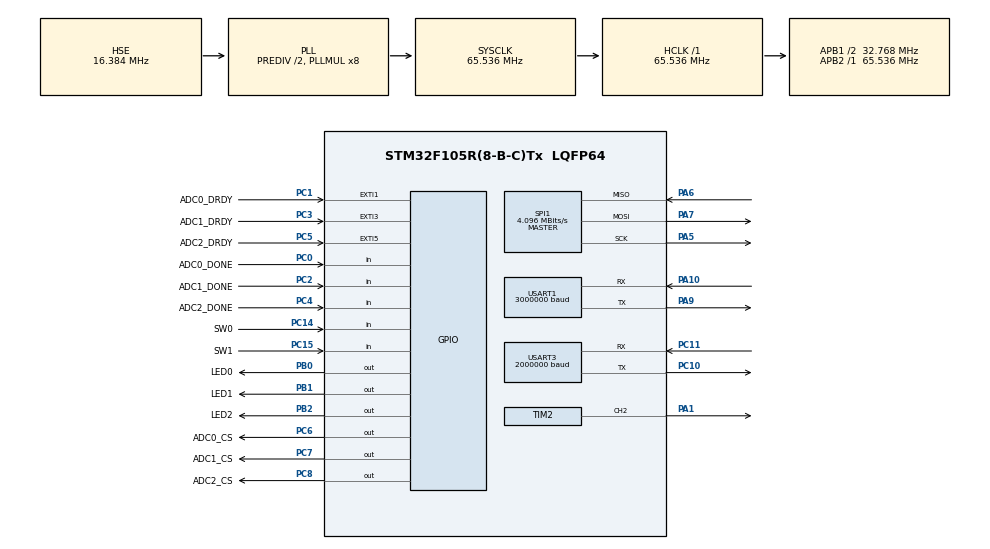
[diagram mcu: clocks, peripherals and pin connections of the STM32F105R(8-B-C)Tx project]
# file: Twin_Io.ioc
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Dma.Request0=USART3_TX
Dma.Request1=USART1_TX
Dma.USART1_TX.1.Direction=DMA_MEMORY_TO_PERIPH
Dma.USART1_TX.1.Instance=DMA1_Channel4
Dma.USART1_TX.1.MemDataAlignment=DMA_MDATAALIGN_BYTE
Dma.USART1_TX.1.MemInc=DMA_MINC_ENABLE
Dma.USART1_TX.1.Mode=DMA_NORMAL
Dma.USART1_TX.1.PeriphDataAlignment=DMA_PDATAALIGN_BYTE
Dma.USART1_TX.1.PeriphInc=DMA_PINC_DISABLE
Dma.USART1_TX.1.Priority=DMA_PRIORITY_LOW
Dma.USART3_TX.0.Direction=DMA_MEMORY_TO_PERIPH
Dma.USART3_TX.0.Instance=DMA1_Channel2
Dma.USART3_TX.0.MemDataAlignment=DMA_MDATAALIGN_BYTE
Dma.USART3_TX.0.MemInc=DMA_MINC_ENABLE
Dma.USART3_TX.0.Mode=DMA_NORMAL
Dma.USART3_TX.0.PeriphDataAlignment=DMA_PDATAALIGN_BYTE
Dma.USART3_TX.0.PeriphInc=DMA_PINC_DISABLE
Dma.USART3_TX.0.Priority=DMA_PRIORITY_LOW
Mcu.Family=STM32F1
Mcu.Name=STM32F105R(8-B-C)Tx
Mcu.Package=LQFP64
NVIC.DMA1_Channel2_IRQn=true\:0\:0\:false\:false\:true\:false\:true\:true
NVIC.DMA1_Channel4_IRQn=true\:0\:0\:false\:false\:true\:false\:true\:true
NVIC.EXTI1_IRQn=true\:0\:0\:false\:false\:true\:true\:true\:true
NVIC.EXTI3_IRQn=true\:0\:0\:false\:false\:true\:true\:true\:true
NVIC.EXTI9_5_IRQn=true\:0\:0\:false\:false\:true\:true\:true\:true
NVIC.PriorityGroup=NVIC_PRIORITYGROUP_4
NVIC.USART1_IRQn=true\:0\:0\:false\:false\:true\:true\:true\:true
NVIC.USART3_IRQn=true\:0\:0\:false\:false\:true\:true\:true\:true
PA1.Signal=S_TIM2_CH2
PA10.Mode=Asynchronous
PA10.Signal=USART1_RX
PA13.Mode=Serial_Wire
PA13.Signal=SYS_JTMS-SWDIO
PA14.Mode=Serial_Wire
PA14.Signal=SYS_JTCK-SWCLK
PA5.Mode=Full_Duplex_Master
PA5.Signal=SPI1_SCK
PA6.Mode=Full_Duplex_Master
PA6.Signal=SPI1_MISO
PA7.Mode=Full_Duplex_Master
PA7.Signal=SPI1_MOSI
PA9.Mode=Asynchronous
PA9.Signal=USART1_TX
PB0.GPIO_Label=LED0
PB0.Signal=GPIO_Output
PB1.GPIO_Label=LED1
PB1.Signal=GPIO_Output
PB2.GPIO_Label=LED2
PB2.Signal=GPIO_Output
PC0.GPIO_Label=ADC0_DONE
PC0.GPIO_PuPd=GPIO_PULLUP
PC0.Signal=GPIO_Input
PC1.GPIO_Label=ADC0_DRDY
PC1.GPIO_ModeDefaultEXTI=GPIO_MODE_IT_FALLING
PC1.GPIO_PuPd=GPIO_PULLUP
PC1.Signal=GPXTI1
PC10.Mode=Asynchronous
PC10.Signal=USART3_TX
PC11.Mode=Asynchronous
PC11.Signal=USART3_RX
PC14-OSC32_IN.GPIO_Label=SW0
PC14-OSC32_IN.Signal=GPIO_Input
PC15-OSC32_OUT.GPIO_Label=SW1
PC15-OSC32_OUT.Signal=GPIO_Input
PC2.GPIO_Label=ADC1_DONE
PC2.GPIO_PuPd=GPIO_PULLUP
PC2.Signal=GPIO_Input
PC3.GPIO_Label=ADC1_DRDY
PC3.GPIO_ModeDefaultEXTI=GPIO_MODE_IT_FALLING
PC3.GPIO_PuPd=GPIO_PULLUP
PC3.Signal=GPXTI3
PC4.GPIO_Label=ADC2_DONE
PC4.GPIO_PuPd=GPIO_PULLUP
PC4.Signal=GPIO_Input
PC5.GPIO_Label=ADC2_DRDY
PC5.GPIO_ModeDefaultEXTI=GPIO_MODE_IT_FALLING
PC5.GPIO_PuPd=GPIO_PULLUP
PC5.Signal=GPXTI5
PC6.GPIO_Label=ADC0_CS
PC6.Signal=GPIO_Output
PC7.GPIO_Label=ADC1_CS
PC7.Signal=GPIO_Output
PC8.GPIO_Label=ADC2_CS
PC8.Signal=GPIO_Output
PD0-OSC_IN.Mode=HSE-External-Oscillator
PD0-OSC_IN.Signal=RCC_OSC_IN
PD1-OSC_OUT.Mode=HSE-External-Oscillator
PD1-OSC_OUT.Signal=RCC_OSC_OUT
ProjectManager.HeapSize=0x200
ProjectManager.StackSize=0x400
ProjectManager.TargetToolchain=STM32CubeIDE
RCC.AHBFreq_Value=65536000
RCC.APB1CLKDivider=RCC_HCLK_DIV2
RCC.APB1Freq_Value=32768000
RCC.APB1TimFreq_Value=65536000
RCC.APB2Freq_Value=65536000
RCC.APB2TimFreq_Value=65536000
RCC.HCLKFreq_Value=65536000
RCC.HSEDivPLL=RCC_HSE_PREDIV_DIV2
RCC.HSE_VALUE=16384000
RCC.PLLMUL=RCC_PLL_MUL8
RCC.PLLSourceVirtual=RCC_PLLSOURCE_HSE
RCC.SYSCLKFreq_VALUE=65536000
RCC.SYSCLKSource=RCC_SYSCLKSOURCE_PLLCLK
RCC.USBFreq_Value=65536000
RCC.USBPrescaler=RCC_USBCLKSOURCE_PLL_DIV2
SH.S_TIM2_CH2.0=TIM2_CH2,PWM Generation2 CH2
SPI1.BaudRatePrescaler=SPI_BAUDRATEPRESCALER_16
SPI1.CLKPhase=SPI_PHASE_2EDGE
SPI1.CalculateBaudRate=4.096 MBits/s
SPI1.DataSize=SPI_DATASIZE_8BIT
SPI1.Direction=SPI_DIRECTION_2LINES
SPI1.Mode=SPI_MODE_MASTER
SPI1.VirtualType=VM_MASTER
TIM2.Channel-PWM\ Generation2\ CH2=TIM_CHANNEL_2
TIM2.Period=1
TIM2.Prescaler=1
TIM2.Pulse-PWM\ Generation2\ CH2=1
USART1.BaudRate=3000000
USART1.VirtualMode=VM_ASYNC
USART3.BaudRate=2000000
USART3.VirtualMode=VM_ASYNC
VP_TIM2_VS_ClockSourceINT.Mode=Internal
board=custom

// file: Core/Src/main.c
/* USER CODE BEGIN Header */
/**
  ******************************************************************************
  * @file           : main.c
  * @brief          : Main program body
  ******************************************************************************
  * @attention
  *
  * Copyright (c) 2024 STMicroelectronics.
  * All rights reserved.
  *
  * This software is licensed under terms that can be found in the LICENSE file
  * in the root directory of this software component.
  * If no LICENSE file comes with this software, it is provided AS-IS.
  *
  ******************************************************************************
  */
/* USER CODE END Header */
#include "main.h"
#include "dma.h"
#include "spi.h"
#include "tim.h"
#include "usart.h"
#include "gpio.h"

/* USER CODE BEGIN PD */
#define ADC_CMD_NULL	0x0000
#define ADC_CMD_RESET   0x0011
#define ADC_CMD_STANDBY 0x0022
#define ADC_CMD_WAKEUP  0x0033
#define ADC_CMD_LOCK	0x0555
#define ADC_CMD_UNLOCK	0x0655

#define RREG	0x20
#define WREG	0x40
/* USER CODE END PD */

/* USER CODE BEGIN PV */
uint8_t pu8_Adc0Rdy[3];
/* USER CODE END PV */

void SystemClock_Config(void);
/* USER CODE BEGIN PFP */
uint32_t u32_AdcTransmitReceive (SPI_HandleTypeDef *hspi, uint32_t u32_Data);
void v_SelectAdc(uint8_t u8_AdcNum, uint8_t on);

uint8_t u8_ADCReadReg(uint8_t u8_AdcNum, uint8_t u8_RegAddr);
uint8_t u8_ADCWriteReg(uint8_t u8_AdcNum, uint8_t u8_RegAddr, uint8_t u8_Val);
uint8_t u8_ADCCommand(uint8_t u8_AdcNum, uint16_t u16_Command);
uint8_t u8_AllADCCommand(uint16_t u16_Command);
uint8_t u8_AllADCWriteReg(uint8_t u8_RegAddr, uint8_t u8_Val);

/* USER CODE END PFP */

int main(void)
{

  /* MCU Configuration--------------------------------------------------------*/

  /* Reset of all peripherals, Initializes the Flash interface and the Systick. */
  HAL_Init();

  /* Configure the system clock */
  SystemClock_Config();

  /* Initialize all configured peripherals */
  MX_GPIO_Init();
  MX_DMA_Init();
  MX_SPI1_Init();
  MX_USART3_UART_Init();
  MX_TIM2_Init();
  MX_USART1_UART_Init();
  /* USER CODE BEGIN 2 */
  HAL_UART_MspInit(&huart1);

  HAL_TIM_PWM_Start(&htim2, TIM_CHANNEL_2);	//Start the ADC clock generation

  //Init all ADCs
  HAL_Delay(100);
  u8_AllADCCommand(ADC_CMD_RESET);	//Reset the ADC to POR
  HAL_Delay(100);
  u8_AllADCCommand(ADC_CMD_NULL);	//Wake up the SPI interface (See datasheet P37)
  HAL_Delay(100);
  u8_AllADCCommand(ADC_CMD_UNLOCK);	//Unlock the ADC registers so they can be written to
  HAL_Delay(100);
  u8_AllADCWriteReg(0xF, 0xF);		//Enable all ADC Channels
  HAL_Delay(100);
  //u8_AllADCWriteReg(0xD, 0b00000100);		//Set fIclk = fclk/4
  HAL_Delay(100);
  u8_AllADCWriteReg(0xE, 0b00100101);		//Set fMod = fIclk/2 and fdata=fmod/512
  HAL_Delay(100);
  u8_AllADCWriteReg(0x11, 0b00000000); //Select gain 2x for channel 0
  HAL_Delay(100);
  u8_AllADCWriteReg(0x12, 0b00000000); //Select gain 2x for channel 1
  HAL_Delay(100);
  u8_AllADCWriteReg(0x13, 0b00000000); //Select gain 2x for channel 2
  HAL_Delay(100);
  u8_AllADCWriteReg(0x14, 0b00000000); //Select gain 2x for channel 3
  HAL_Delay(100);
  u8_AllADCWriteReg(0xB, 0b01101000);
  HAL_Delay(100);
	u8_AllADCWriteReg(0xC, 0b00111100);
  HAL_Delay(100);
  u8_AllADCCommand(ADC_CMD_WAKEUP);	//Wake the ADC up and start measuring
  HAL_Delay(100);
  u8_AllADCCommand(ADC_CMD_LOCK);	//Lock the ADC registers so they cant be written to

  /* USER CODE END 2 */

  /* Infinite loop */
  /* USER CODE BEGIN WHILE */
  while (1)
  {

	  for(uint8_t i = 0; i <= 2; i++)
	  {
		  if(pu8_Adc0Rdy[i])
		  {
			  v_SelectAdc(i, 1); // Select the ADC

			  pu8_Adc0Rdy[i] = 0; //Reset the Flag

			  uint8_t pu8_UartBuf[14];
			  uint8_t u8_UartBufCnt=0;			//init the counter which keeps track of the number of bits to be sent

			  pu8_UartBuf[u8_UartBufCnt] = i;	//Transmit the current ADC number which the samples are from
			  u8_UartBufCnt++;

			  for(uint8_t j=0;j<15;j++)//output bytes 3-14 because 0-2 are status bytes
			  {
				  while (((SPI1->SR)&(1<<7))) {};  // wait for BSY bit to Reset -> This will indicate that SPI is not busy in communication
				  SPI1->DR = 0;	//send a dummy byte to receive next byte
				  while (!((SPI1->SR) &SPI_SR_RXNE)){};  // Wait for RXNE to set -> This will indicate that the Rx buffer is not empty

				  if(j>=3)
				  {
					 pu8_UartBuf[u8_UartBufCnt] = SPI1->DR;	//Transmit the current ADC number which the samples are from
					 u8_UartBufCnt++;
				  }
				  else
				  {
					  SPI1->DR; //Discard the SPI data
				  }
			  }
			  while (((SPI1->SR)&(1<<7))) {};  // wait for BSY bit to Reset -> This will indicate that SPI is not busy in communication
			  pu8_UartBuf[u8_UartBufCnt] = '\n';	//Transmit the current ADC number which the samples are from
			  u8_UartBufCnt++;
			  HAL_StatusTypeDef err;
			  while(huart1.gState != HAL_UART_STATE_READY);
			  err = HAL_UART_Transmit_DMA(&huart1, pu8_UartBuf, u8_UartBufCnt);
			  if(err!=HAL_OK)
			  {
				  __NOP();
			  }

			  __HAL_UART_DISABLE_IT(&huart1, UART_IT_TXE);
			  v_SelectAdc(i, 0); //Deselect the ADC

		  }
	  }

    /* USER CODE END WHILE */

  }
}

void SystemClock_Config(void)
{
  RCC_OscInitTypeDef RCC_OscInitStruct = {0};
  RCC_ClkInitTypeDef RCC_ClkInitStruct = {0};

  /** Initializes the RCC Oscillators according to the specified parameters
  * in the RCC_OscInitTypeDef structure.
  */
  RCC_OscInitStruct.OscillatorType = RCC_OSCILLATORTYPE_HSE;
  RCC_OscInitStruct.HSEState = RCC_HSE_ON;
  RCC_OscInitStruct.HSEPredivValue = RCC_HSE_PREDIV_DIV2;
  RCC_OscInitStruct.HSIState = RCC_HSI_ON;
  RCC_OscInitStruct.Prediv1Source = RCC_PREDIV1_SOURCE_HSE;
  RCC_OscInitStruct.PLL.PLLState = RCC_PLL_ON;
  RCC_OscInitStruct.PLL.PLLSource = RCC_PLLSOURCE_HSE;
  RCC_OscInitStruct.PLL.PLLMUL = RCC_PLL_MUL8;
  RCC_OscInitStruct.PLL2.PLL2State = RCC_PLL_NONE;
  if (HAL_RCC_OscConfig(&RCC_OscInitStruct) != HAL_OK)
  {
    Error_Handler();
  }

  /** Initializes the CPU, AHB and APB buses clocks
  */
  RCC_ClkInitStruct.ClockType = RCC_CLOCKTYPE_HCLK|RCC_CLOCKTYPE_SYSCLK
                              |RCC_CLOCKTYPE_PCLK1|RCC_CLOCKTYPE_PCLK2;
  RCC_ClkInitStruct.SYSCLKSource = RCC_SYSCLKSOURCE_PLLCLK;
  RCC_ClkInitStruct.AHBCLKDivider = RCC_SYSCLK_DIV1;
  RCC_ClkInitStruct.APB1CLKDivider = RCC_HCLK_DIV2;
  RCC_ClkInitStruct.APB2CLKDivider = RCC_HCLK_DIV1;

  if (HAL_RCC_ClockConfig(&RCC_ClkInitStruct, FLASH_LATENCY_2) != HAL_OK)
  {
    Error_Handler();
  }

  /** Configure the Systick interrupt time
  */
  __HAL_RCC_PLLI2S_ENABLE();
}

/* USER CODE BEGIN 4 */
uint32_t u32_AdcTransmitReceive (SPI_HandleTypeDef *hspi, uint32_t u32_Data)
{
	uint8_t pu8_TxData[3];
	uint8_t pu8_RxData[3];
	for(int i = 2; i > 0; i--)
	{
		pu8_TxData[i] = (u32_Data & 0xFF << (8*i)) >> (8*i);
		/*
		 * pu8_Data[0] = MSB
		 * pu8_Data[2] = LSB
		 */
	}
	HAL_SPI_TransmitReceive(&hspi1, pu8_TxData, pu8_RxData, 3, 100);
	return pu8_RxData[0] | pu8_RxData[1] << 8 | pu8_RxData[2] << 16;
}

void v_SelectAdc(uint8_t u8_AdcNum, uint8_t on)
{
	switch (u8_AdcNum)
	{
	case 0:
		HAL_GPIO_WritePin(ADC0_CS_GPIO_Port, ADC0_CS_Pin, !on);
		break;
	case 1:
		HAL_GPIO_WritePin(ADC1_CS_GPIO_Port, ADC1_CS_Pin, !on);
		break;
	case 2:
		HAL_GPIO_WritePin(ADC2_CS_GPIO_Port, ADC2_CS_Pin, !on);
		break;
	default:
		break;
	}
}

void HAL_GPIO_EXTI_Callback(uint16_t GPIO_Pin)
{
  if(GPIO_Pin == ADC0_DRDY_Pin) {
    pu8_Adc0Rdy[0] = 1;
  }
  else
  if(GPIO_Pin == ADC1_DRDY_Pin) {
	pu8_Adc0Rdy[1] = 1;
  }
  else
  if(GPIO_Pin == ADC2_DRDY_Pin) {
	pu8_Adc0Rdy[2] = 1;
  }
}

uint8_t u8_ADCReadReg(uint8_t u8_AdcNum, uint8_t u8_RegAddr)
{

	//uint8_t u8_Val = 0;
	u8_RegAddr |= RREG;
	u8_ADCCommand(u8_AdcNum, u8_RegAddr << 8);

	v_SelectAdc(u8_AdcNum, 1);

	uint8_t pu8_RecvBuf[3];
	uint8_t pu8_ZeroBuf[3] = {0,0,0};
	HAL_SPI_TransmitReceive(&hspi1, pu8_ZeroBuf, pu8_RecvBuf, 3, 100);
	v_SelectAdc(u8_AdcNum, 0);
	return pu8_RecvBuf[1];

}

uint8_t u8_ADCWriteReg(uint8_t u8_AdcNum, uint8_t u8_RegAddr, uint8_t u8_Val)
{
	u8_RegAddr |= WREG;

	u8_ADCCommand(u8_AdcNum, u8_RegAddr << 8 | u8_Val);
	/*
	v_SelectAdc(u8_AdcNum, 1);
	HAL_SPI_Transmit(&hspi1, &u8_RegAddr, 1, 100);

	HAL_SPI_Transmit(&hspi1, &u8_Val, 1, 100);
	v_SelectAdc(u8_AdcNum, 0);*/
	return 0;
}

uint8_t u8_AllADCWriteReg(uint8_t u8_RegAddr, uint8_t u8_Val)
{
	for(uint8_t i = 0; i < 3; i++)
	{
		u8_ADCWriteReg(i, u8_RegAddr, u8_Val);
		HAL_Delay(10);
	}
	return 0;
}

uint8_t u8_ADCCommand(uint8_t u8_AdcNum, uint16_t u16_Command)
{
	uint8_t u8_MSB = u16_Command >> 8;
	uint8_t u8_LSB = u16_Command & 0xFF;
	v_SelectAdc(u8_AdcNum, 1);
	HAL_SPI_Transmit(&hspi1, &u8_MSB, 1, 100);
	HAL_SPI_Transmit(&hspi1, &u8_LSB, 1, 100);
	uint8_t u8_Zero = 0;
	HAL_SPI_Transmit(&hspi1, &u8_Zero, 1, 100);
	v_SelectAdc(u8_AdcNum, 0);
	return 0;
}

uint8_t u8_AllADCCommand(uint16_t u16_Command)
{
	for(uint8_t i = 0; i < 3; i++)
	{
		u8_ADCCommand(i, u16_Command);
		HAL_Delay(10);
		u8_ADCCommand(i, ADC_CMD_NULL);//Send a NULL command to read back the data
	}
	return 0;
}

/* USER CODE END 4 */

void Error_Handler(void)
{
  __disable_irq();
  while (1)
  {
  }
}
